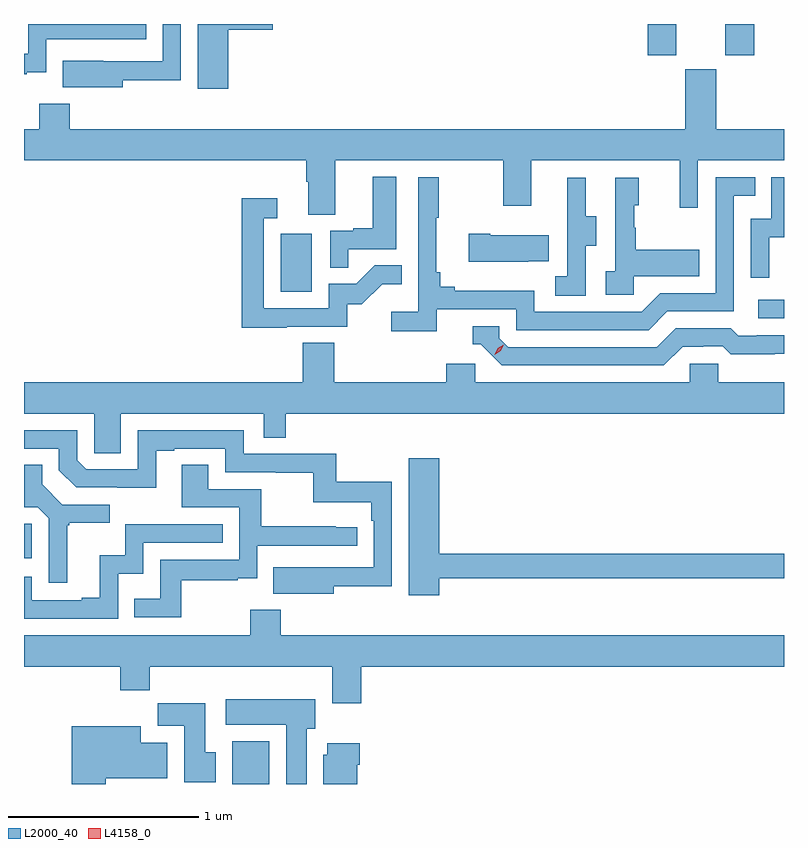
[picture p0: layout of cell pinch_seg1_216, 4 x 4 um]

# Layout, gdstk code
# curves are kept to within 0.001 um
import gdstk
lib = gdstk.Library(unit=1e-6, precision=1e-09)
def R(c, l, rs):  # rectangles x0, y0, x1, y1
    for r in rs: c.add(gdstk.rectangle(r[:2], r[2:], *l))
def P(c, l, *ps):  # polygons
    for p in ps: c.add(gdstk.Polygon(p, *l))
L2000_40 = (2000, 40)
L4158_0 = (4158, 0)

pinch_seg1_216 = lib.new_cell('pinch_seg1_216')
R(pinch_seg1_216, L2000_40, [(988.907,563.102,989.104,563.326), (987.812,564.291,987.852,564.471), (991.677,565.554,991.812,565.65), (989.162,565.692,989.326,565.999), (991.094,566.937,991.246,567.102), (991.502,566.937,991.655,567.102)])
P(pinch_seg1_216, L2000_40, [(987.827,566.849),(987.93,566.849),(987.93,567.021),(988.456,567.021),(988.456,567.102),(987.834,567.102),(987.834,566.946),(987.812,566.946),(987.812,566.838),(987.827,566.838)],
  [(988.888,567.071),(989.122,567.071),(989.122,567.102),(988.727,567.102),(988.727,566.76),(988.888,566.76)],
  [(988.333,566.806),(988.638,566.806),(988.638,567.102),(988.542,567.102),(988.542,566.907),(988.229,566.907),(988.229,566.908),(988.015,566.908),(988.015,566.768),(988.333,566.768)],
  [(989.449,566.384),(990.334,566.384),(990.334,566.145),(990.481,566.145),(990.481,566.384),(991.262,566.384),(991.262,566.136),(991.359,566.136),(991.359,566.384),(991.812,566.384),(991.812,566.548),(991.456,566.548),(991.456,566.865),(991.292,566.865),(991.292,566.548),(988.052,566.548),(988.052,566.683),(987.892,566.683),(987.892,566.548),(987.812,566.548),(987.812,566.384),(989.297,566.384),(989.297,566.272),(989.309,566.272),(989.309,566.098),(989.449,566.098)],
  [(989.519,565.917),(989.77,565.917),(989.77,566.299),(989.648,566.299),(989.648,566.026),(989.545,566.026),(989.545,566.013),(989.424,566.013),(989.424,565.819),(989.519,565.819)],
  [(989.984,565.602),(990.402,565.602),(990.402,565.491),(991.099,565.491),(991.198,565.59),(991.548,565.59),(991.548,566.199),(991.661,566.199),(991.661,566.295),(991.452,566.295),(991.452,565.686),(991.161,565.686),(991.062,565.587),(990.498,565.587),(990.498,565.699),(990.079,565.699),(990.079,565.718),(990.002,565.718),(990.002,565.795),(989.983,565.795),(989.983,566.083),(989.995,566.083),(989.995,566.296),(989.886,566.296),(989.886,565.588),(989.745,565.588),(989.745,565.486),(989.984,565.486)],
  [(991.734,565.979),(991.812,565.979),(991.812,566.295),(991.746,566.295),(991.746,566.076),(991.638,566.076),(991.638,565.767),(991.734,565.767)],
  [(991.02,565.775),(991.367,565.775),(991.367,565.915),(991.033,565.915),(991.033,566.03),(991.023,566.03),(991.023,566.148),(991.048,566.148),(991.048,566.293),(990.924,566.293),(990.924,565.802),(990.873,565.802),(990.873,565.677),(991.02,565.677)],
  [(990.768,565.936),(990.823,565.936),(990.823,566.091),(990.769,566.091),(990.769,566.293),(990.671,566.293),(990.671,566.079),(990.672,566.079),(990.672,565.775),(990.609,565.775),(990.609,565.672),(990.768,565.672)],
  [(989.195,565.509),(989.514,565.509),(989.514,565.626),(989.59,565.626),(989.697,565.733),(989.801,565.733),(989.801,565.832),(989.658,565.832),(989.56,565.734),(989.415,565.734),(989.415,565.605),(989.073,565.605),(989.073,566.079),(989.146,566.079),(989.146,566.185),(988.957,566.185),(988.957,565.504),(989.195,565.504)],
  [(990.467,565.853),(990.575,565.853),(990.575,565.99),(990.265,565.99),(990.265,565.998),(990.153,565.998),(990.153,565.85),(990.467,565.85)],
  [(991.279,565.404),(991.386,565.404),(991.386,565.407),(991.489,565.407),(991.531,565.365),(991.764,565.365),(991.764,565.367),(991.812,565.367),(991.812,565.464),(991.669,565.464),(991.669,565.461),(991.57,565.461),(991.531,565.5),(991.242,565.5),(991.143,565.401),(990.36,565.401),(990.312,565.449),(990.312,565.512),(990.173,565.512),(990.173,565.416),(990.216,565.416),(990.327,565.305),(991.18,565.305)],
  [(988.321,565.052),(989.073,565.052),(989.073,564.925),(989.189,564.925),(989.189,565.052),(991.812,565.052),(991.812,565.216),(991.467,565.216),(991.467,565.314),(991.317,565.314),(991.317,565.216),(990.186,565.216),(990.186,565.314),(990.035,565.314),(990.035,565.216),(989.444,565.216),(989.444,565.424),(989.279,565.424),(989.279,565.216),(987.812,565.216),(987.812,565.052),(988.182,565.052),(988.182,564.844),(988.321,564.844)],
  [(989.443,564.142),(989.748,564.142),(989.748,564.694),(989.455,564.694),(989.455,564.84),(988.968,564.84),(988.968,564.963),(988.41,564.963),(988.41,564.759),(988.14,564.759),(988.092,564.807),(988.092,564.963),(987.812,564.963),(987.812,564.867),(987.996,564.867),(987.996,564.753),(988.086,564.663),(988.507,564.662),(988.507,564.855),(988.603,564.855),(988.603,564.867),(988.872,564.867),(988.872,564.744),(989.137,564.744),(989.137,564.739),(989.334,564.739),(989.334,564.584),(989.639,564.584),(989.639,564.488),(989.652,564.488),(989.652,564.243),(989.125,564.244),(989.125,564.104),(989.443,564.104)],
  [(989.998,564.186),(991.812,564.186),(991.812,564.314),(989.998,564.314),(989.998,564.817),(989.837,564.817),(989.837,564.096),(989.998,564.096)],
  [(988.039,564.465),(988.051,564.465),(988.051,564.476),(988.264,564.476),(988.264,564.573),(988.014,564.573),(987.907,564.68),(987.907,564.782),(987.812,564.782),(987.812,564.558),(987.885,564.558),(987.942,564.501),(987.942,564.162),(988.039,564.162)],
  [(988.639,564.174),(988.937,564.174),(988.937,564.185),(989.04,564.185),(989.04,564.357),(989.566,564.357),(989.566,564.453),(989.453,564.453),(989.453,564.458),(989.06,564.458),(989.06,564.654),(988.783,564.654),(988.783,564.782),(988.643,564.782),(988.643,564.558),(988.944,564.558),(988.944,564.282),(988.528,564.282),(988.528,564.076),(988.393,564.076),(988.393,563.979),(988.639,563.979)],
  [(988.308,564.209),(988.44,564.209),(988.44,564.372),(988.859,564.372),(988.859,564.468),(988.344,564.468),(988.344,564.307),(988.211,564.307),(988.211,564.082),(988.115,564.082),(988.115,564.069),(987.852,564.069),(987.852,564.192),(987.812,564.192),(987.812,563.973),(988.308,563.973)],
  [(989.588,563.72),(991.812,563.72),(991.812,563.884),(989.162,563.884),(989.162,564.019),(989.002,564.019),(989.002,563.884),(987.812,563.884),(987.812,563.72),(988.319,563.72),(988.319,563.596),(988.475,563.596),(988.475,563.72),(989.435,563.72),(989.435,563.526),(989.588,563.526)],
  [(989.299,563.394),(989.344,563.394),(989.344,563.548),(988.875,563.548),(988.875,563.414),(989.192,563.414),(989.192,563.102),(989.299,563.102)],
  [(988.822,563.268),(988.765,563.268),(988.765,563.527),(988.516,563.527),(988.516,563.408),(988.655,563.408),(988.655,563.112),(988.822,563.112)],
  [(988.242,563.132),(988.567,563.132),(988.567,563.32),(988.426,563.32),(988.426,563.407),(988.064,563.407),(988.064,563.102),(988.242,563.102)],
  [(989.566,563.204),(989.579,563.204),(989.579,563.317),(989.408,563.317),(989.408,563.256),(989.387,563.256),(989.387,563.102),(989.566,563.102)])
P(pinch_seg1_216, L4158_0, [(990.289,565.362),(990.289,565.363),(990.306,565.395),(990.337,565.414),(990.338,565.414),(990.338,565.413),(990.321,565.381),(990.29,565.362)])

lib.write_gds('pinch_seg1_216.gds')
